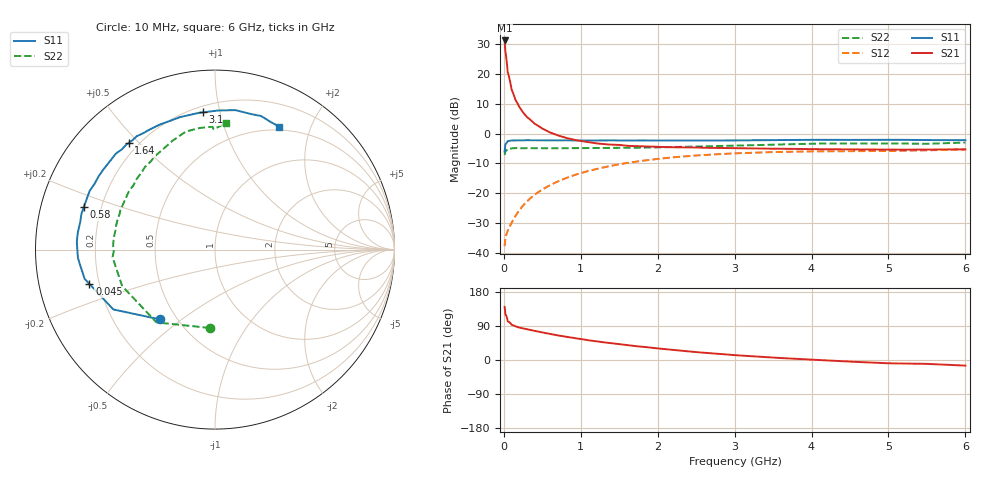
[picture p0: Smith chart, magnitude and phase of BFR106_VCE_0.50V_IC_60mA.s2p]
! Infineon Technologies  Discrete & RF Semiconductors
! BFR106
! VCE = 0.50 V,  IC =  60 mA
! Common Emitter S-Parameters:  Nov 2015
# GHz  S  MA  R  50
!  f  S11  S21  S12  S22
! GHz  MAG  ANG  MAG  ANG  MAG  ANG  MAG  ANG
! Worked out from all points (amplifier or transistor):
!   210 points, 10 MHz to 6 GHz, reference 50 ohm
!   highest |S21| = 31.2 dB at 10 MHz (marker M1)
!   |S21| within 3 dB of that: start of sweep to 18.32 MHz
!   unconditionally stable (mu >= 1): 71.18 MHz to end of sweep
!   at 185 MHz: K = 1.39, MAG = 14.3 dB, |S12| = -26.4 dB
!   at 1.52 GHz: K = 1.24, MAG = 0.2 dB, |S12| = -10.2 dB
!   at 6 GHz: K = 1.04, MAG = -1.1 dB, |S12| = -5.4 dB
!   S11 on the Smith chart (normalised r, x): 10 MHz: 0.41, -0.42; 45 MHz: 0.16, -0.13; 580 MHz: 0.13, +0.16; 1.64 GHz: 0.16, +0.47; 3.1 GHz: 0.24, +0.89; 6 GHz: 0.46, +1.56
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0.01  0.4946 -128.1  36.33 140.2  0.0129 54.1  0.4376 -93.8
0.02  0.6572 -149.5  23.92 120.8  0.0179 43.0  0.5204 -128.8
0.045  0.7254 -164.7  12.82 107.9  0.0225 42.4  0.5403 -154.0
0.05  0.7445 -167.4  10.77 102.2  0.0234 42.3  0.556 -158.6
0.1  0.7651 -176.4  5.498 93.1  0.0315 52.2  0.5639 -171.4
0.15  0.7686 179.2  3.69 88.9  0.0412 59.1  0.572 -175.8
0.2  0.7709 176.6  2.801 85.6  0.0511 62.9  0.5643 -179.0
0.24  0.7706 174.8  2.353 83.6  0.0598 64.6  0.567 179.0
0.26  0.7703 173.9  2.172 82.7  0.0641 65.3  0.5678 178.2
0.3  0.7696 172.4  1.891 81.0  0.0724 66.2  0.5681 176.9
0.4  0.7664 168.2  1.463 76.7  0.0939 67.1  0.5679 173.8
0.5  0.7704 165.1  1.213 72.7  0.1146 66.8  0.5662 171.0
0.58  0.7685 162.0  1.075 69.6  0.1315 66.0  0.5643 169.1
0.8  0.7713 154.9  0.85 61.4  0.1769 62.7  0.568 163.8
1.02  0.766 147.2  0.743 54.7  0.2203 58.6  0.5682 159.0
1.64  0.7646 129.0  0.619 38.2  0.3259 45.9  0.5787 145.6
2.02  0.7617 118.8  0.596 30.2  0.377 38.1  0.588 137.8
3.1  0.7676 95.1  0.565 11.5  0.4689 18.5  0.6296 117.6
4.1  0.7837 80.5  0.546 -0.0  0.5018 4.5  0.6778 102.6
5.1  0.7845 70.1  0.535 -9.0  0.5122 -5.5  0.6823 91.1
5.5  0.7754 66.2  0.538 -10.2  0.5243 -7.4  0.6713 90.7
6  0.7734 62.4  0.543 -14.8  0.5369 -13.2  0.7057 85.0
